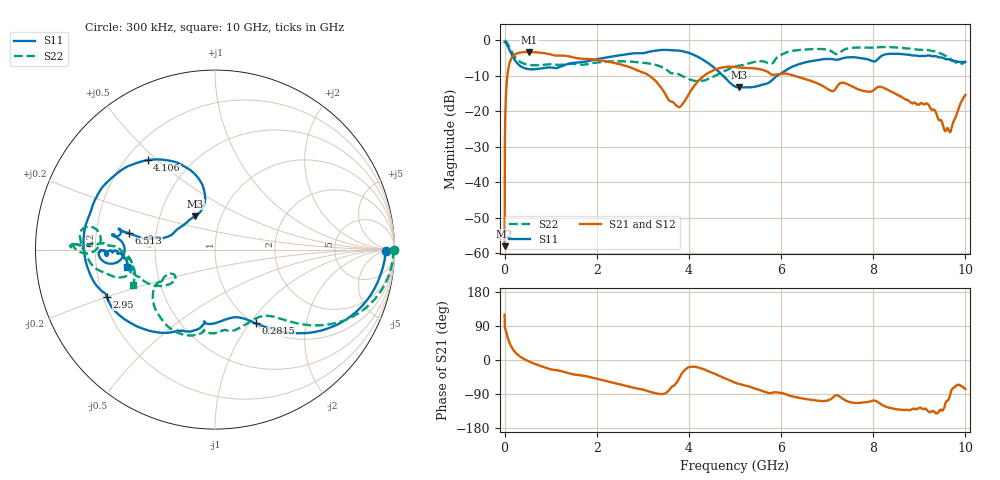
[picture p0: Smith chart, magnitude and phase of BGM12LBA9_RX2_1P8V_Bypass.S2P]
!Agilent Technologies,E5071C,MY46316587,B.13.01
!Date: Tue Sep 12 11:09:45 2017
!Data & Calibration Information:
!Freq	S11:SOLT2(ON)	S21:SOLT2(ON)	S12:SOLT2(ON)	S22:SOLT2(ON)
!PortZ  Port1:50+j0  Port2:50+j0
!Above PortZ is port z conversion or system Z0 setting when saving the data.
!When reading, reference impedance value at option line is always used.
# Hz S RI R 50
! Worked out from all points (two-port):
!   1601 points, 300 kHz to 10 GHz, reference 50 ohm
!   highest |S21| = -3.29 dB at 537.8 MHz (marker M1); lowest = -58.0 dB at 300 kHz (marker M2)
!   |S21| within 3 dB of the highest: 110.6 MHz to 2.354 GHz (2.244 GHz wide, 182 % of centre)
!   lowest |S11| = -13.3 dB at 5.088 GHz (marker M3), VSWR 1.55, Z = 37.7 + j14.8 ohm
!   |S11| at or under -10 dB: 4.742 GHz to 5.91 GHz (1.168 GHz wide, 21.9 % of centre)
!   |S22| runs from -11.5 to 0.0 dB; largest |S21 - S12| = 0.002
!   S11 on the Smith chart (normalised r, x): 300 kHz: 39, -4; 281.5 MHz: 1.02, -1.08; 2.95 GHz: 0.21, -0.20; 4.106 GHz: 0.29, +0.47; 6.513 GHz: 0.35, +0.08; 10 GHz: 0.34, -0.09
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300000  0.9501 -0.00502  -0.000621 0.00109  7.17e-05 0.00273  0.9967 -0.00159
5.654831e7  0.7933 -0.3404  0.1364 0.271  0.1362 0.2714  0.8656 -0.302
7.529775e7  0.711 -0.4016  0.2124 0.3141  0.2122 0.3142  0.7933 -0.3582
1.440457e8  0.4544 -0.4663  0.4473 0.3209  0.4474 0.3215  0.5666 -0.4219
2.815416e8  0.2288 -0.4109  0.6379 0.1635  0.6384 0.1635  0.3661 -0.3856
5.377839e8  0.1042 -0.3777  0.6828 -0.0524  0.6831 -0.0525  0.25 -0.3746
1.669e9  -0.1993 -0.452  0.4151 -0.3609  0.4153 -0.3615  -0.0607 -0.4501
2.950212e9  -0.6026 -0.2659  0.082 -0.3528  0.0814 -0.3526  -0.3017 -0.3821
3.3377e9  -0.7232 -0.0518  0.00283 -0.242  0.00265 -0.2424  -0.3465 -0.2687
3.781437e9  -0.6352 0.3374  0.0739 -0.0875  0.0738 -0.0874  -0.2906 -0.1627
4.106427e9  -0.376 0.4982  0.2137 -0.0682  0.2139 -0.0685  -0.234 -0.1357
4.556413e9  -0.0919 0.3965  0.3097 -0.2277  0.3097 -0.2278  -0.249 -0.1907
5.00015e9  -0.0856 0.2061  0.2128 -0.3645  0.2128 -0.3656  -0.3837 -0.182
5.087647e9  -0.1092 0.1873  0.1861 -0.3692  0.1855 -0.37  -0.4086 -0.1648
5.800126e9  -0.2626 0.072  0.0194 -0.3274  0.0182 -0.3268  -0.4608 -0.0958
6.512605e9  -0.4785 0.0904  -0.062 -0.28  -0.062 -0.28  -0.7417 0.028
6.66885e9  -0.5024 0.0986  -0.0707 -0.2557  -0.0706 -0.2556  -0.7508 0.0611
7.206334e9  -0.5241 0.0947  -0.0112 -0.2184  -0.0112 -0.2178  -0.6366 0.0542
8.33755e9  -0.6435 -0.0408  -0.1151 -0.1604  -0.1147 -0.1602  -0.8027 0.0238
9.181275e9  -0.611 -0.0301  -0.0891 -0.092  -0.0892 -0.0923  -0.7318 0.0137
9.618761e9  -0.5426 -0.0232  -0.0166 -0.0546  -0.0166 -0.0542  -0.5846 0.0218
1e10  -0.4896 -0.0982  0.0388 -0.1662  0.0393 -0.1663  -0.4577 -0.197
